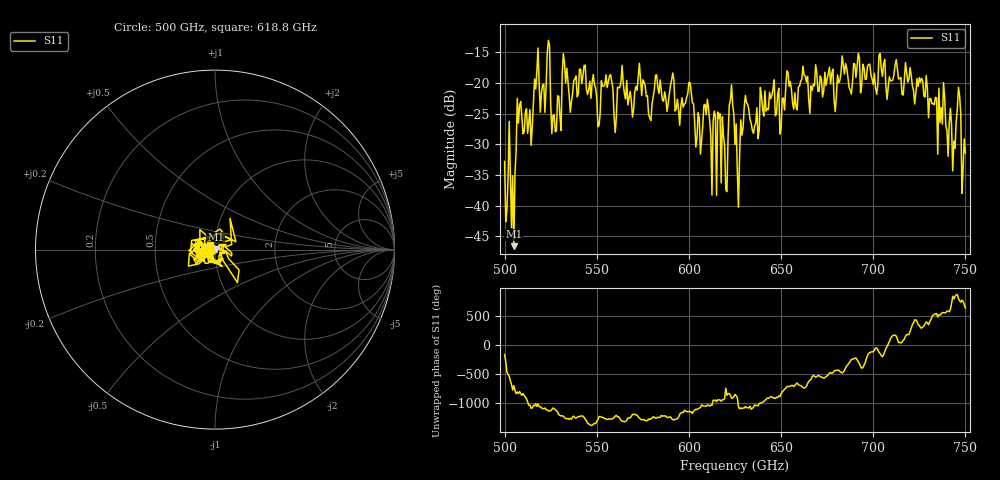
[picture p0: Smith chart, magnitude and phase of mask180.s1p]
!Created with skrf (http://scikit-rf.org).
# GHz S MA R 50.0
!freq magS11 angS11
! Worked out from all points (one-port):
!   401 points, 500 GHz to 750 GHz, reference 50 ohm
!   lowest |S11| = -46.6 dB at 505 GHz (marker M1), VSWR 1.01, Z = 50.5 + j0.13 ohm
!   |S11| at or under -10 dB: start of sweep to end of sweep
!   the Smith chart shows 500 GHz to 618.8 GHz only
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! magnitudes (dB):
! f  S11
! 500 GHz  -32.8
! 505 GHz  -46.6
! 508.1 GHz  -23.6
! 513.8 GHz  -24.3
! 516.9 GHz  -20.9
! 520.6 GHz  -20.3
! 523.8 GHz  -13.0
! 526.9 GHz  -25.2
! 531.2 GHz  -18.5
! 542.5 GHz  -18.8
! 550.6 GHz  -27.1
! 562.5 GHz  -20.7
! 590.6 GHz  -19.5
! 593.8 GHz  -22.6
! 600.6 GHz  -19.9
! 605 GHz  -24.8
! 609.4 GHz  -25.1
! 620 GHz  -37.4
! 623.1 GHz  -20.3
! 625 GHz  -30.0
! 626.2 GHz  -34.2
! 631.2 GHz  -23.2
! 656.2 GHz  -23.3
! 687.5 GHz  -21.1
! 718.8 GHz  -19.8
! 743.8 GHz  -29.5
! 746.2 GHz  -20.7
! 750 GHz  -31.4
